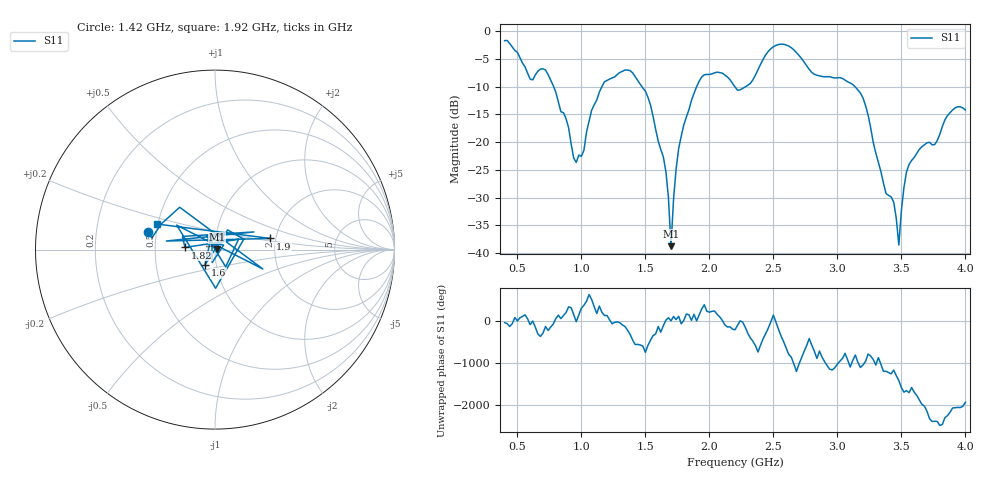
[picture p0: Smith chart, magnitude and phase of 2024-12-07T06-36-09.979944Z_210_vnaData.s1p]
!Created with skrf (http://scikit-rf.org).
# Hz S RI R 50.0
!freq ReS11 ImS11
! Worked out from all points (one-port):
!   181 points, 400 MHz to 4 GHz, reference 50 ohm
!   lowest |S11| = -38.7 dB at 1.7 GHz (marker M1), VSWR 1.02, Z = 51.1 + j0.247 ohm
!   |S11| at or under -10 dB: 783.1 MHz to 1.16 GHz (377.3 MHz wide, 38.8 % of centre); 1.472 GHz to 1.901 GHz (428 MHz wide, 25.4 % of centre); 3.137 GHz to end of sweep (the widest 3 of 4)
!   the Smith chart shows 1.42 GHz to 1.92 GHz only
!   S11 on the Smith chart (normalised r, x): 1.42 GHz: 0.45, +0.10; 1.6 GHz: 0.88, -0.15; 1.82 GHz: 0.71, +0.02; 1.9 GHz: 1.87, +0.26; 1.92 GHz: 0.49, +0.16
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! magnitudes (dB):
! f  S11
! 400 MHz  -1.7
! 600 MHz  -8.7
! 720 MHz  -7.0
! 860 MHz  -14.7
! 960 MHz  -23.6
! 1.16 GHz  -10.0
! 1.3 GHz  -7.5
! 1.42 GHz  -8.2
! 1.52 GHz  -11.9
! 1.6 GHz  -19.8
! 1.66 GHz  -25.3
! 1.7 GHz  -38.7
! 1.72 GHz  -30.2
! 1.76 GHz  -21.1
! 1.82 GHz  -15.5
! 1.9 GHz  -10.0
! 1.92 GHz  -9.0
! 2.2 GHz  -10.1
! 2.5 GHz  -2.8
! 2.66 GHz  -3.4
! 3.1 GHz  -9.4
! 3.22 GHz  -13.4
! 3.38 GHz  -29.3
! 3.44 GHz  -30.8
! 3.48 GHz  -38.5
! 3.52 GHz  -28.2
! 3.56 GHz  -24.0
! 4 GHz  -14.2
